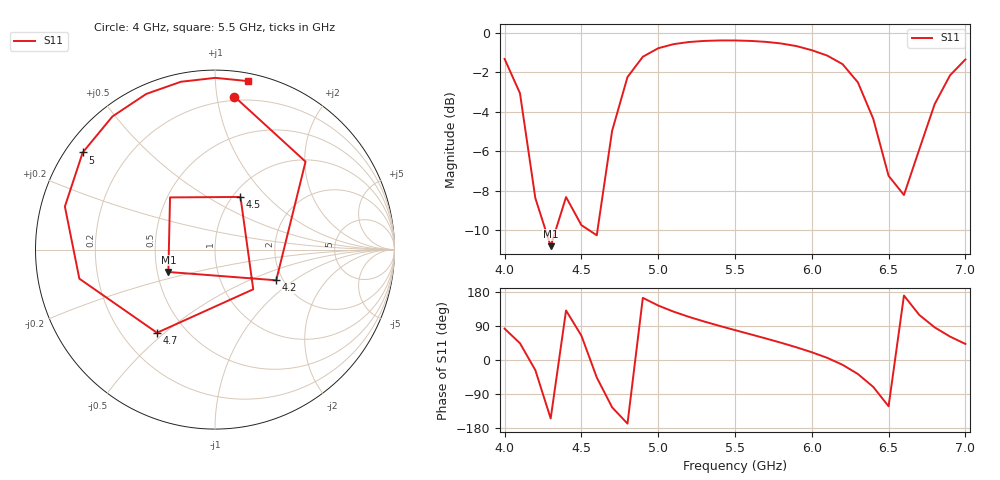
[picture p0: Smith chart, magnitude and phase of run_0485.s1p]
! Touchstone file exported from HFSS 2024.2.0
!  File:  C:/Users/wsak9/Desktop/Sim Fast/Widenad Patch/WP_AI_V1_sweep.aedt
!  Generated:  12:18:59 PM Oct 14, 2026
!  Design:  A1_model
!  Project:  WP_AI_V1_sweep
!  Setup:  Setup1
!  Solution:  Sweep
! Variables:
!  Air_gap = 2.54mm
!  Curve_Amp1 = 3.03
!  Curve_len1 = 1
!  Curve_pos = 12.485mm
!  Extra = 2.84mm
!  H_sub = 0.79mm
!  L_Patch = 20.97mm
!  L_Patch1 = 15.06mm
!  Sx = 1.62mm
!  Sy = 3.27mm
!  WS = 0.26mm
!  W_Patch = 19.87mm
!  W_Patch1 = 12.22mm
!Data is not renormalized
# GHz S MA
! Terminal data exported
! Port[1] = 1
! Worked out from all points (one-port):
!   31 points, 4 GHz to 7 GHz, reference per port
!   lowest |S11| = -10.8 dB at 4.3 GHz (marker M1), VSWR 1.81
!   |S11| at or under -10 dB: 4.267 GHz to 4.332 GHz (65.41 MHz wide, 1.52 % of centre); 4.551 GHz to 4.605 GHz (54.08 MHz wide, 1.18 % of centre)
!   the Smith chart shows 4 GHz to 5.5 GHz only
!   S11 on the Smith chart (normalised r, x): 4 GHz: 0.17, +1.12; 4.2 GHz: 1.84, -0.74; 4.5 GHz: 1.09, +0.71; 4.7 GHz: 0.35, -0.47; 5 GHz: 0.05, +0.33; 5.5 GHz: 0.05, +1.22
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4  0.859 82.7
4.1  0.7033 44.2
4.2  0.3816 -26.6
4.3  0.2882 -154.4
4.4  0.3838 130.7
4.5  0.3258 64.2
4.6  0.3071 -46.1
4.7  0.5649 -124.9
4.8  0.7729 -167.9
4.9  0.8701 164.0
5  0.9143 143.7
5.1  0.9364 127.6
5.2  0.9481 113.8
5.3  0.9542 101.5
5.5  0.9568 78.8
5.7  0.9491 56.9
5.9  0.9259 33.5
6  0.904 20.5
6.1  0.8762 5.8
6.2  0.8335 -12.7
6.3  0.7494 -36.9
6.4  0.606 -71.0
6.5  0.4344 -122.2
6.6  0.3885 170.1
6.7  0.5072 118.8
6.8  0.66 86.1
6.9  0.7808 61.8
7  0.8564 42.4
